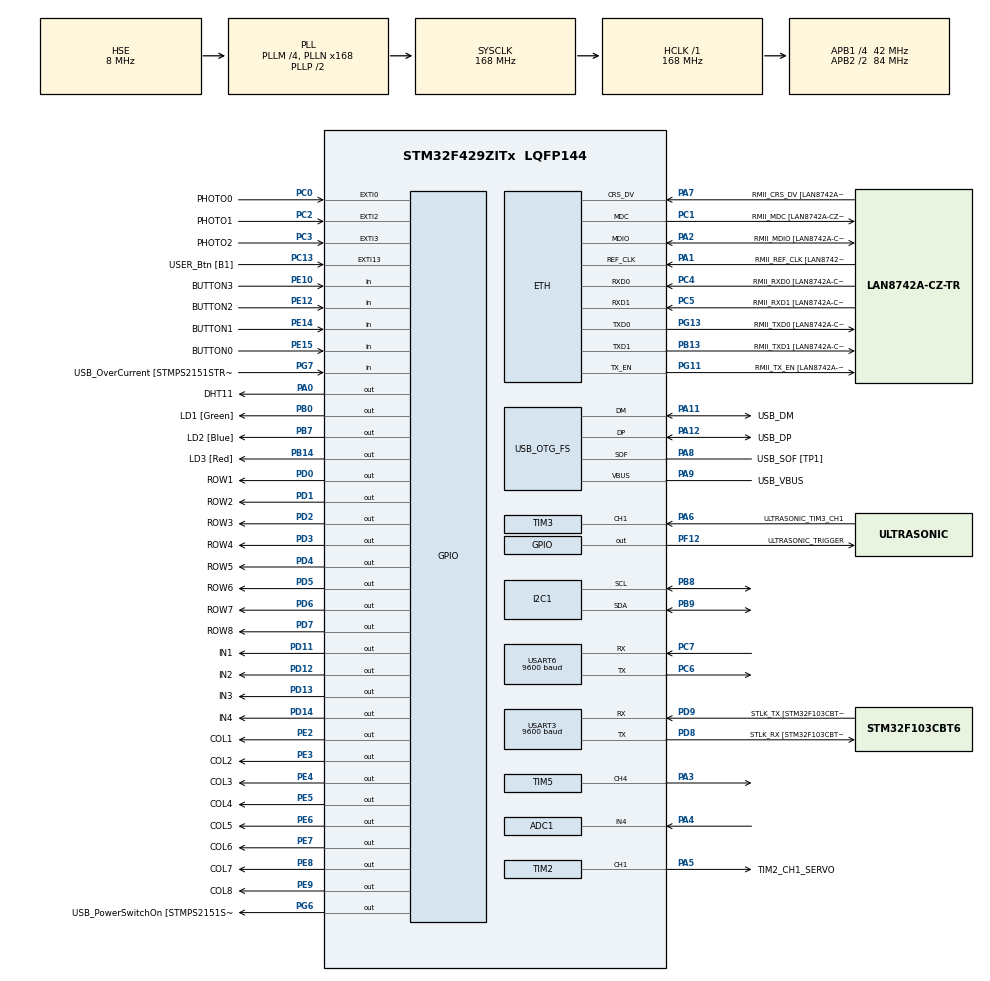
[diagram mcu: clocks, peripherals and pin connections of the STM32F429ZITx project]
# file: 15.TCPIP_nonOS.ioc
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ADC1.Channel-2\#ChannelRegularConversion=ADC_CHANNEL_4
ADC1.ContinuousConvMode=ENABLE
ADC1.NbrOfConversionFlag=1
ADC1.Rank-2\#ChannelRegularConversion=1
ADC1.SamplingTime-2\#ChannelRegularConversion=ADC_SAMPLETIME_480CYCLES
ADC1.master=1
ETH.MACAddr=00\:80\:E1\:00\:00\:75
ETH.MediaInterface=HAL_ETH_RMII_MODE
LWIP.BSP.number=1
LWIP.GATEWAY_ADDRESS=010.010.015.254
LWIP.IP_ADDRESS=010.010.015.075
LWIP.LWIP_DHCP=0
LWIP.NETMASK_ADDRESS=255.255.255.000
LWIP.Version=v2.1.2_Cube
LWIP0.BSP.STBoard=false
LWIP0.BSP.api=BSP_COMPONENT_DRIVER
LWIP0.BSP.component=LAN8742
LWIP0.BSP.instance=LAN8742
LWIP0.BSP.name=Driver_PHY
LWIP0.BSP.semaphore=S_LAN8742
LWIP0.BSP.solution=LAN8742
Mcu.Family=STM32F4
Mcu.Name=STM32F429ZITx
Mcu.Package=LQFP144
NVIC.ADC_IRQn=true\:0\:0\:false\:false\:true\:true\:true\:true
NVIC.ETH_IRQn=true\:0\:0\:false\:false\:true\:true\:true\:true
NVIC.ETH_WKUP_IRQn=true\:0\:0\:false\:false\:true\:true\:true\:true
NVIC.EXTI0_IRQn=true\:0\:0\:false\:false\:true\:true\:true\:true
NVIC.EXTI2_IRQn=true\:0\:0\:false\:false\:true\:true\:true\:true
NVIC.EXTI3_IRQn=true\:0\:0\:false\:false\:true\:true\:true\:true
NVIC.PriorityGroup=NVIC_PRIORITYGROUP_4
NVIC.TIM1_TRG_COM_TIM11_IRQn=true\:0\:0\:false\:false\:true\:true\:true\:true
NVIC.TIM1_UP_TIM10_IRQn=true\:0\:0\:false\:false\:true\:true\:true\:true
NVIC.TIM2_IRQn=true\:0\:0\:false\:false\:true\:true\:true\:true
NVIC.TIM3_IRQn=true\:0\:0\:false\:false\:true\:true\:true\:true
NVIC.TIM4_IRQn=true\:0\:0\:false\:false\:true\:true\:true\:true
NVIC.TIM5_IRQn=true\:0\:0\:false\:false\:true\:true\:true\:true
NVIC.USART3_IRQn=true\:0\:0\:false\:false\:true\:true\:true\:true
NVIC.USART6_IRQn=true\:0\:0\:false\:false\:true\:true\:true\:true
PA0/WKUP.GPIO_Label=DHT11
PA0/WKUP.Signal=GPIO_Output
PA1.GPIO_Label=RMII_REF_CLK [LAN8742A-CZ-TR_REFCLK0]
PA1.Mode=RMII
PA1.Signal=ETH_REF_CLK
PA10.GPIO_Label=USB_ID
PA10.Signal=USB_OTG_FS_ID
PA11.GPIO_Label=USB_DM
PA11.Mode=Device_Only
PA11.Signal=USB_OTG_FS_DM
PA12.GPIO_Label=USB_DP
PA12.Mode=Device_Only
PA12.Signal=USB_OTG_FS_DP
PA13.GPIO_Label=TMS
PA13.Mode=Serial_Wire
PA13.Signal=SYS_JTMS-SWDIO
PA14.GPIO_Label=TCK
PA14.Mode=Serial_Wire
PA14.Signal=SYS_JTCK-SWCLK
PA2.GPIO_Label=RMII_MDIO [LAN8742A-CZ-TR_MDIO]
PA2.Mode=RMII
PA2.Signal=ETH_MDIO
PA3.Signal=S_TIM5_CH4
PA4.Signal=ADCx_IN4
PA5.GPIO_Label=TIM2_CH1_SERVO
PA5.Signal=S_TIM2_CH1_ETR
PA6.GPIO_Label=ULTRASONIC_TIM3_CH1
PA6.Signal=S_TIM3_CH1
PA7.GPIO_Label=RMII_CRS_DV [LAN8742A-CZ-TR_CRS_DV]
PA7.Mode=RMII
PA7.Signal=ETH_CRS_DV
PA8.GPIO_Label=USB_SOF [TP1]
PA8.Mode=Activate_SOF_FS
PA8.Signal=USB_OTG_FS_SOF
PA9.GPIO_Label=USB_VBUS
PA9.Mode=Activate_VBUS
PA9.Signal=USB_OTG_FS_VBUS
PB0.GPIO_Label=LD1 [Green]
PB0.Signal=GPIO_Output
PB13.GPIO_Label=RMII_TXD1 [LAN8742A-CZ-TR_TXD1]
PB13.Mode=RMII
PB13.Signal=ETH_TXD1
PB14.GPIO_Label=LD3 [Red]
PB14.Signal=GPIO_Output
PB7.GPIO_Label=LD2 [Blue]
PB7.Signal=GPIO_Output
PB8.Mode=I2C
PB8.Signal=I2C1_SCL
PB9.Mode=I2C
PB9.Signal=I2C1_SDA
PC0.GPIO_Label=PHOTO0
PC0.Signal=GPXTI0
PC1.GPIO_Label=RMII_MDC [LAN8742A-CZ-TR_MDC]
PC1.Mode=RMII
PC1.Signal=ETH_MDC
PC13.GPIO_Label=USER_Btn [B1]
PC13.Signal=GPXTI13
PC14/OSC32_IN.Mode=LSE-External-Oscillator
PC14/OSC32_IN.Signal=RCC_OSC32_IN
PC15/OSC32_OUT.Mode=LSE-External-Oscillator
PC15/OSC32_OUT.Signal=RCC_OSC32_OUT
PC2.GPIO_Label=PHOTO1
PC2.Signal=GPXTI2
PC3.GPIO_Label=PHOTO2
PC3.Signal=GPXTI3
PC4.GPIO_Label=RMII_RXD0 [LAN8742A-CZ-TR_RXD0]
PC4.Mode=RMII
PC4.Signal=ETH_RXD0
PC5.GPIO_Label=RMII_RXD1 [LAN8742A-CZ-TR_RXD1]
PC5.Mode=RMII
PC5.Signal=ETH_RXD1
PC6.Mode=Asynchronous
PC6.Signal=USART6_TX
PC7.Mode=Asynchronous
PC7.Signal=USART6_RX
PD0.GPIO_Label=ROW1
PD0.Signal=GPIO_Output
PD1.GPIO_Label=ROW2
PD1.Signal=GPIO_Output
PD11.GPIO_Label=IN1
PD11.Signal=GPIO_Output
PD12.GPIO_Label=IN2
PD12.Signal=GPIO_Output
PD13.GPIO_Label=IN3
PD13.Signal=GPIO_Output
PD14.GPIO_Label=IN4
PD14.Signal=GPIO_Output
PD2.GPIO_Label=ROW3
PD2.Signal=GPIO_Output
PD3.GPIO_Label=ROW4
PD3.Signal=GPIO_Output
PD4.GPIO_Label=ROW5
PD4.Signal=GPIO_Output
PD5.GPIO_Label=ROW6
PD5.Signal=GPIO_Output
PD6.GPIO_Label=ROW7
PD6.Signal=GPIO_Output
PD7.GPIO_Label=ROW8
PD7.Signal=GPIO_Output
PD8.GPIO_Label=STLK_RX [STM32F103CBT6_PA3]
PD8.Mode=Asynchronous
PD8.Signal=USART3_TX
PD9.GPIO_Label=STLK_TX [STM32F103CBT6_PA2]
PD9.Mode=Asynchronous
PD9.Signal=USART3_RX
PE10.GPIO_Label=BUTTON3
PE10.Signal=GPIO_Input
PE12.GPIO_Label=BUTTON2
PE12.Signal=GPIO_Input
PE14.GPIO_Label=BUTTON1
PE14.Signal=GPIO_Input
PE15.GPIO_Label=BUTTON0
PE15.Signal=GPIO_Input
PE2.GPIO_Label=COL1
PE2.Signal=GPIO_Output
PE3.GPIO_Label=COL2
PE3.Signal=GPIO_Output
PE4.GPIO_Label=COL3
PE4.Signal=GPIO_Output
PE5.GPIO_Label=COL4
PE5.Signal=GPIO_Output
PE6.GPIO_Label=COL5
PE6.Signal=GPIO_Output
PE7.GPIO_Label=COL6
PE7.Signal=GPIO_Output
PE8.GPIO_Label=COL7
PE8.Signal=GPIO_Output
PE9.GPIO_Label=COL8
PE9.Signal=GPIO_Output
PF12.GPIO_Label=ULTRASONIC_TRIGGER
PF12.Signal=GPIO_Output
PG11.GPIO_Label=RMII_TX_EN [LAN8742A-CZ-TR_TXEN]
PG11.Mode=RMII
PG11.Signal=ETH_TX_EN
PG13.GPIO_Label=RMII_TXD0 [LAN8742A-CZ-TR_TXD0]
PG13.Mode=RMII
PG13.Signal=ETH_TXD0
PG6.GPIO_Label=USB_PowerSwitchOn [STMPS2151STR_EN]
PG6.Signal=GPIO_Output
PG7.GPIO_Label=USB_OverCurrent [STMPS2151STR_FAULT]
PG7.Signal=GPIO_Input
PH0/OSC_IN.GPIO_Label=MCO [STM32F103CBT6_PA8]
PH0/OSC_IN.Mode=HSE-External-Clock-Source
PH0/OSC_IN.Signal=RCC_OSC_IN
PH1/OSC_OUT.Mode=HSE-External-Clock-Source
PH1/OSC_OUT.Signal=RCC_OSC_OUT
ProjectManager.HeapSize=0x200
ProjectManager.StackSize=0x400
ProjectManager.TargetToolchain=STM32CubeIDE
RCC.48MHZClocksFreq_Value=48000000
RCC.AHBFreq_Value=168000000
RCC.APB1CLKDivider=RCC_HCLK_DIV4
RCC.APB1Freq_Value=42000000
RCC.APB1TimFreq_Value=84000000
RCC.APB2CLKDivider=RCC_HCLK_DIV2
RCC.APB2Freq_Value=84000000
RCC.APB2TimCLKDivider=2
RCC.APB2TimFreq_Value=168000000
RCC.CortexFreq_Value=168000000
RCC.HCLKFreq_Value=168000000
RCC.HSE_VALUE=8000000
RCC.HSI_VALUE=16000000
RCC.PLLM=4
RCC.PLLMUL=RCC_PLL_MUL9
RCC.PLLN=168
RCC.PLLQ=7
RCC.PRESCALERUSB=RCC_USBCLKSOURCE_PLL_DIV1_5
RCC.SYSCLKFreq_VALUE=168000000
RCC.SYSCLKSource=RCC_SYSCLKSOURCE_PLLCLK
RCC.SYSCLKSourceVirtual=RCC_SYSCLKSOURCE_PLLCLK
RCC.USBFreq_Value=48000000
RCC.VCOOutputFreq_Value=336000000
RTC.Date=16
RTC.Hours=9
RTC.Minutes=38
RTC.Month=RTC_MONTH_OCTOBER
RTC.Year=23
SH.ADCx_IN4.0=ADC1_IN4,IN4
SH.S_TIM2_CH1_ETR.0=TIM2_CH1,PWM Generation1 CH1
SH.S_TIM3_CH1.0=TIM3_CH1,Input_Capture1_from_TI1
SH.S_TIM5_CH4.0=TIM5_CH4,PWM Generation4 CH4
TIM10.Period=10000-1
TIM10.Prescaler=168-1
TIM11.Prescaler=168-1
TIM2.Channel-PWM\ Generation1\ CH1=TIM_CHANNEL_1
TIM2.Period=1000-1
TIM2.Prescaler=1680-1
TIM2.Pulse-PWM\ Generation1\ CH1=500-1
TIM3.Channel-Input_Capture1_from_TI1=TIM_CHANNEL_1
TIM3.ICPolarity_CH1=TIM_INPUTCHANNELPOLARITY_BOTHEDGE
TIM3.Prescaler=84-1
TIM4.Period=100-1
TIM4.Prescaler=840-1
TIM5.Channel-PWM\ Generation4\ CH4=TIM_CHANNEL_4
TIM5.Period=400-1
TIM5.Prescaler=52.5-1
TIM5.Pulse-PWM\ Generation4\ CH4=200-1
USART3.BaudRate=9600
USART3.VirtualMode=VM_ASYNC
USART6.BaudRate=9600
USART6.VirtualMode=VM_ASYNC
USB_OTG_FS.VirtualMode=Device_Only
VP_LWIP_VS_Enabled.Mode=Enabled
VP_RTC_VS_RTC_Activate.Mode=RTC_Enabled
VP_RTC_VS_RTC_Calendar.Mode=RTC_Calendar
VP_TIM10_VS_ClockSourceINT.Mode=Enable_Timer
VP_TIM11_VS_ClockSourceINT.Mode=Enable_Timer
VP_TIM4_VS_ClockSourceINT.Mode=Internal
VP_TIM5_VS_ClockSourceINT.Mode=Internal
board=NUCLEO-F429ZI

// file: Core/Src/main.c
/* USER CODE BEGIN Header */
/**
  ******************************************************************************
  * @file           : main.c
  * @brief          : Main program body
  ******************************************************************************
  * @attention
  *
  * Copyright (c) 2023 STMicroelectronics.
  * All rights reserved.
  *
  * This software is licensed under terms that can be found in the LICENSE file
  * in the root directory of this software component.
  * If no LICENSE file comes with this software, it is provided AS-IS.
  *
  ******************************************************************************
  */
/* USER CODE END Header */
#include "main.h"
#include "lwip.h"

/* USER CODE BEGIN Includes */
#include "lwip/udp.h"  // Add TCP
#include "udp_echoserver.h"  // Add TCP

/* USER CODE END Includes */

ADC_HandleTypeDef hadc1;

I2C_HandleTypeDef hi2c1;

RTC_HandleTypeDef hrtc;

TIM_HandleTypeDef htim2;
TIM_HandleTypeDef htim3;
TIM_HandleTypeDef htim4;
TIM_HandleTypeDef htim5;
TIM_HandleTypeDef htim10;
TIM_HandleTypeDef htim11;

UART_HandleTypeDef huart3;
UART_HandleTypeDef huart6;

PCD_HandleTypeDef hpcd_USB_OTG_FS;

/* USER CODE BEGIN PV */
uint8_t rx_data;   // uart3 rx data
uint8_t bt_rx_data;   // uart6 bt rx data
volatile int TIM10_10ms_counter=0;
volatile int TIM10_10ms_ultrasonic=0;
/* USER CODE END PV */

void SystemClock_Config(void);
static void MX_GPIO_Init(void);
static void MX_USART3_UART_Init(void);
static void MX_USB_OTG_FS_PCD_Init(void);
static void MX_USART6_UART_Init(void);
static void MX_TIM10_Init(void);
static void MX_TIM11_Init(void);
static void MX_TIM3_Init(void);
static void MX_TIM4_Init(void);
static void MX_TIM2_Init(void);
static void MX_RTC_Init(void);
static void MX_TIM5_Init(void);
static void MX_I2C1_Init(void);
static void MX_ADC1_Init(void);
/* USER CODE BEGIN PFP */
extern void led_main(void);
extern void pc_command_processing(void);
extern void bt_command_processing(void);
extern void DHT11_main(void);
extern void DHT11_Init(void);
extern void DHT11_processing(void);
extern void get_DHT11(char *tmp);	//
extern void get_DHT11_tmp(char *tmp);	//
extern void get_DHT11_rh(char *tmp);	//
extern void ultrasonic_processing(void);
extern void i2c_lcd_main(void);
extern void i2c_lcd_init(void);
extern void lcd_string(uint8_t *str);
extern void move_cursor(uint8_t row, uint8_t column);
extern void dcmotor_pwm_control(void);
extern void servo_motor_test_main(void);
extern void get_rtc(void);
extern void lcd_display_mode_select(void);
extern void set_time_button_ui(void);
extern void buzzer_main();
extern int dotmatrix_main_test(void);
extern int dotmatrix_main(void);
extern void stepmotor_main_test(void);

void delay_us(unsigned long us);
/* USER CODE END PFP */

/* USER CODE BEGIN 0 */
//---------------
// call by SysTick_Handler of stm32f4xx_it.c
// ARM default timer
// enter here every 1ms
volatile int t1ms_counter=0;  // volatile : for disable optimize
void HAL_SYSTICK_Handler(void)
{
	t1ms_counter++;   // 1ms timer
}
//----------  printf start ----------
#ifdef __GNUC__
/* With GCC, small printf (option LD Linker->Libraries->Small printf
   set to 'Yes') calls __io_putchar() */
#define PUTCHAR_PROTOTYPE int __io_putchar(int ch)
#else
#define PUTCHAR_PROTOTYPE int fputc(int ch, FILE *f)
#endif /* __GNUC_ */
/**
  * @brief  Retargets the C library printf function to the USART.
  * @param  None
  * @retval None
  */
PUTCHAR_PROTOTYPE   // Add for printf
{
  /* Place your implementation of fputc here */
  /* e.g. write a character to the USART3 and Loop until the end of transmission */
  HAL_UART_Transmit(&huart3, (uint8_t *)&ch, 1, 0xFFFF);

  return ch;
}
//----------  printf end ----------

// move from Driver/STM32F4xx_HAL_Driver/stm32f4xx_hal_tim.c to here
// enter here when every timer INT occurs

void HAL_TIM_PeriodElapsedCallback(TIM_HandleTypeDef *htim)
{
	if (htim->Instance == TIM10)
	{
		TIM10_10ms_counter++;  // 10ms timer counter
		TIM10_10ms_ultrasonic++;  // ultrasonic trigger timer
	}
}

void delay_us(unsigned long us)
{
	__HAL_TIM_SET_COUNTER(&htim11,0);   // tim11 clear
	while(__HAL_TIM_GET_COUNTER(&htim11) < us)
		;
}
// 1. move from Driver/STM32F4xx_HAL_Driver/Src/stm32f4xx_hal_gpio.c to here
// 2. enter here every external interrupt
volatile int ext_int_no = -1;  // GPIO_Pin?�� 0번도 존재?��?���???? 구분?���???? ?��?��?��
void HAL_GPIO_EXTI_Callback(uint16_t GPIO_Pin)
{
printf("EXT INT\0");
	switch(GPIO_Pin)
	{
	case PHOTO0_Pin:
		ext_int_no=GPIO_Pin;
		nucleo_stm32f429zi_led_off();
		HAL_GPIO_WritePin(GPIOB, GPIO_PIN_0, 1); // LED1
		break;
	case PHOTO1_Pin:
		ext_int_no=GPIO_Pin;
		nucleo_stm32f429zi_led_off();
		HAL_GPIO_WritePin(GPIOB, GPIO_PIN_7, 1);   // LED2
		break;
	case PHOTO2_Pin:
		ext_int_no=GPIO_Pin;
		nucleo_stm32f429zi_led_off();
		HAL_GPIO_WritePin(GPIOB, GPIO_PIN_14, 1);  // LED3
		break;
	}
}
uint16_t adcValue[4];
void HAL_ADC_ConvCpltCallback(ADC_HandleTypeDef* hadc)
{
	if (hadc->Instance == ADC1)
	{
		adcValue[0] = HAL_ADC_GetValue(&hadc1);
		HAL_ADC_Start_IT(&hadc1);
	}
}
// led off on STM32F429ZI
void nucleo_stm32f429zi_led_off()
{
	HAL_GPIO_WritePin(GPIOB, GPIO_PIN_0, 0);
	HAL_GPIO_WritePin(GPIOB, GPIO_PIN_7, 0);
	HAL_GPIO_WritePin(GPIOB, GPIO_PIN_14, 0);
}
void nucleo_stm32f429zi_led_on()
{
	HAL_GPIO_WritePin(GPIOB, GPIO_PIN_0, 1);
	HAL_GPIO_WritePin(GPIOB, GPIO_PIN_7, 1);
	HAL_GPIO_WritePin(GPIOB, GPIO_PIN_14, 1);
}
//-------- UDP start ------------
extern struct udp_pcb *upcb1;    // Add	UDP Control Block
extern ip_addr_t addr1;          // Add
extern uint8_t udp_data[100];    // Add
extern uint8_t udp_flag;         // Add
extern uint8_t led_flag[4];		 // Add

struct pbuf *p1;    // Add  Send buffer
char temp_str[40] = "";
uint8_t servo[6];
uint8_t led[4];

//--------- UDP end ------------
/* USER CODE END 0 */

int main(void)
{

  /* MCU Configuration--------------------------------------------------------*/

  /* Reset of all peripherals, Initializes the Flash interface and the Systick. */
  HAL_Init();

  /* Configure the system clock */
  SystemClock_Config();

  /* Initialize all configured peripherals */
  MX_GPIO_Init();
  MX_USART3_UART_Init();
  MX_USB_OTG_FS_PCD_Init();
  MX_USART6_UART_Init();
  MX_TIM10_Init();
  MX_TIM11_Init();
  MX_TIM3_Init();
  MX_TIM4_Init();
  MX_TIM2_Init();
  MX_RTC_Init();
  MX_TIM5_Init();
  MX_I2C1_Init();
  MX_ADC1_Init();
  MX_LWIP_Init();
  /* USER CODE BEGIN 2 */
  HAL_UART_Receive_IT(&huart3, &rx_data, 1);   // assing to RX INT
  HAL_UART_Receive_IT(&huart6, &bt_rx_data, 1);   // for BT assing to RX INT
  HAL_TIM_Base_Start_IT(&htim10);   // ADD_SIKWON_1011
  HAL_TIM_Base_Start_IT(&htim11);   // ADD_SIKWON_1011
//  HAL_TIM_IC_Start_IT(&htim3, TIM_CHANNEL_1);   // for count pulse(rising edge & falling edge)
//  HAL_TIM_PWM_Start_IT(&htim4, TIM_CHANNEL_1);  // for DC motor PWM control
//  HAL_TIM_PWM_Start(&htim2, TIM_CHANNEL_1);   // for SERVO motor PWM control
//  HAL_TIM_PWM_Start(&htim5, TIM_CHANNEL_4);   // PIEZO Buzzer
  HAL_ADC_Start_IT(&hadc1);

   DHT11_Init();
//  i2c_lcd_init();

  TIM10_10ms_counter=0;
// DHT11_main();
// stepmotor_main_test();

//  dotmatrix_main();

//  dotmatrix_main_test();
//  led_main();
//  DHT11_main();
//  i2c_lcd_main();
//  servo_motor_test_main();
//  buzzer_main();
//------ TCP/IP start -------------
    udp_echoserver_init(); // Add TCP
	upcb1 = udp_new();                //Add
	IP4_ADDR(&addr1,10,10,15,57);     //Add My PC IP
	udp_bind(upcb1,IP_ADDR_ANY,9999); //Add
//------- TCP/IP end -----------------
  /* USER CODE END 2 */

  /* Infinite loop */
  /* USER CODE BEGIN WHILE */
  while (1)
  {
	ethernetif_input(&gnetif);
	sys_check_timeouts();

	if (udp_flag == 1)      // Add
	{
		udp_flag = 0;
		strncpy(servo, udp_data + 6, 4);
		HAL_UART_Transmit(&huart3, servo, strlen(servo), 1000);
		//__HAL_TIM_SET_COMPARE(&htim1, TIM_CHANNEL_4, atoi(servo));
	}
	if(led_flag[1] == 1){
		led_flag[1] = 0;
		HAL_GPIO_TogglePin(GPIOB, GPIO_PIN_0);   // LED1
		HAL_UART_Transmit(&huart3, led, strlen(led), 1000);

		get_DHT11_tmp(temp_str);
		udp_connect(upcb1, &addr1, 9999);  // Add
		p1 = pbuf_alloc(PBUF_TRANSPORT, strlen((char *) temp_str), PBUF_POOL);
		if (p1 != NULL)
		{
			// copy data to pbuf
			pbuf_take(p1, (char *)temp_str, strlen((char *)temp_str));
			// send udp data
			udp_send(upcb1, p1);
			/* free the UDP connection, so we can accept new clients */
			udp_disconnect(upcb1);

			// free pbuf
			pbuf_free(p1);
		}
		else
		{
			HAL_UART_Transmit(&huart3,  "pbuf not allocated\n", strlen("pbuf not allocated\n"), 10);
		}

		continue;
	}
	if(led_flag[2] == 1){
		led_flag[2] = 0;
		HAL_GPIO_TogglePin(GPIOB, GPIO_PIN_7);   // LED2
		HAL_UART_Transmit(&huart3, led, strlen(led), 1000);

		get_DHT11_rh(temp_str);
		udp_connect(upcb1, &addr1, 9999);  // Add
		p1 = pbuf_alloc(PBUF_TRANSPORT, strlen((char *) temp_str), PBUF_POOL);
		if (p1 != NULL)
		{
			// copy data to pbuf
			pbuf_take(p1, (char *)temp_str, strlen((char *)temp_str));
			// send udp data
			udp_send(upcb1, p1);
			/* free the UDP connection, so we can accept new clients */
			udp_disconnect(upcb1);

			// free pbuf
			pbuf_free(p1);
		}
		else
		{
			HAL_UART_Transmit(&huart3,  "pbuf not allocated\n", strlen("pbuf not allocated\n"), 10);
		}

		continue;
	}
	if(led_flag[3] == 1){
		led_flag[3] = 0;
		HAL_GPIO_TogglePin(GPIOB, GPIO_PIN_14);   // LED3
		HAL_UART_Transmit(&huart3, led, strlen(led), 1000);
		continue;
	}

#if 1
	if (TIM10_10ms_counter >= 150)  //1500ms
	{
		TIM10_10ms_counter=0;

		get_DHT11(temp_str);
		udp_connect(upcb1, &addr1, 9999);  // Add
		p1 = pbuf_alloc(PBUF_TRANSPORT, strlen((char *) temp_str), PBUF_POOL);
		if (p1 != NULL)
		{
			// copy data to pbuf
			pbuf_take(p1, (char *)temp_str, strlen((char *)temp_str));
			// send udp data
			udp_send(upcb1, p1);
			/* free the UDP connection, so we can accept new clients */
			udp_disconnect(upcb1);

			// free pbuf
			pbuf_free(p1);
		}
		else
		{
			HAL_UART_Transmit(&huart3,  "pbuf not allocated\n", strlen("pbuf not allocated\n"), 10);
		}

	}
#endif
//	DHT11_processing();
// 	pc_command_processing();
// 	bt_command_processing();
// 	ultrasonic_processing();
// 	dcmotor_pwm_control();
// 	get_rtc();
// 	lcd_display_mode_select();
// 	set_time_button_ui();
    /* USER CODE END WHILE */

  }
}

void SystemClock_Config(void)
{
  RCC_OscInitTypeDef RCC_OscInitStruct = {0};
  RCC_ClkInitTypeDef RCC_ClkInitStruct = {0};

  /** Configure the main internal regulator output voltage
  */
  __HAL_RCC_PWR_CLK_ENABLE();
  __HAL_PWR_VOLTAGESCALING_CONFIG(PWR_REGULATOR_VOLTAGE_SCALE1);

  /** Initializes the RCC Oscillators according to the specified parameters
  * in the RCC_OscInitTypeDef structure.
  */
  RCC_OscInitStruct.OscillatorType = RCC_OSCILLATORTYPE_LSI|RCC_OSCILLATORTYPE_HSE;
  RCC_OscInitStruct.HSEState = RCC_HSE_BYPASS;
  RCC_OscInitStruct.LSIState = RCC_LSI_ON;
  RCC_OscInitStruct.PLL.PLLState = RCC_PLL_ON;
  RCC_OscInitStruct.PLL.PLLSource = RCC_PLLSOURCE_HSE;
  RCC_OscInitStruct.PLL.PLLM = 4;
  RCC_OscInitStruct.PLL.PLLN = 168;
  RCC_OscInitStruct.PLL.PLLP = RCC_PLLP_DIV2;
  RCC_OscInitStruct.PLL.PLLQ = 7;
  if (HAL_RCC_OscConfig(&RCC_OscInitStruct) != HAL_OK)
  {
    Error_Handler();
  }

  /** Initializes the CPU, AHB and APB buses clocks
  */
  RCC_ClkInitStruct.ClockType = RCC_CLOCKTYPE_HCLK|RCC_CLOCKTYPE_SYSCLK
                              |RCC_CLOCKTYPE_PCLK1|RCC_CLOCKTYPE_PCLK2;
  RCC_ClkInitStruct.SYSCLKSource = RCC_SYSCLKSOURCE_PLLCLK;
  RCC_ClkInitStruct.AHBCLKDivider = RCC_SYSCLK_DIV1;
  RCC_ClkInitStruct.APB1CLKDivider = RCC_HCLK_DIV4;
  RCC_ClkInitStruct.APB2CLKDivider = RCC_HCLK_DIV2;

  if (HAL_RCC_ClockConfig(&RCC_ClkInitStruct, FLASH_LATENCY_5) != HAL_OK)
  {
    Error_Handler();
  }
}

static void MX_ADC1_Init(void)
{

  ADC_ChannelConfTypeDef sConfig = {0};

  /** Configure the global features of the ADC (Clock, Resolution, Data Alignment and number of conversion)
  */
  hadc1.Instance = ADC1;
  hadc1.Init.ClockPrescaler = ADC_CLOCK_SYNC_PCLK_DIV4;
  hadc1.Init.Resolution = ADC_RESOLUTION_12B;
  hadc1.Init.ScanConvMode = DISABLE;
  hadc1.Init.ContinuousConvMode = ENABLE;
  hadc1.Init.DiscontinuousConvMode = DISABLE;
  hadc1.Init.ExternalTrigConvEdge = ADC_EXTERNALTRIGCONVEDGE_NONE;
  hadc1.Init.ExternalTrigConv = ADC_SOFTWARE_START;
  hadc1.Init.DataAlign = ADC_DATAALIGN_RIGHT;
  hadc1.Init.NbrOfConversion = 1;
  hadc1.Init.DMAContinuousRequests = DISABLE;
  hadc1.Init.EOCSelection = ADC_EOC_SINGLE_CONV;
  if (HAL_ADC_Init(&hadc1) != HAL_OK)
  {
    Error_Handler();
  }

  /** Configure for the selected ADC regular channel its corresponding rank in the sequencer and its sample time.
  */
  sConfig.Channel = ADC_CHANNEL_4;
  sConfig.Rank = 1;
  sConfig.SamplingTime = ADC_SAMPLETIME_480CYCLES;
  if (HAL_ADC_ConfigChannel(&hadc1, &sConfig) != HAL_OK)
  {
    Error_Handler();
  }

}

static void MX_I2C1_Init(void)
{

  hi2c1.Instance = I2C1;
  hi2c1.Init.ClockSpeed = 100000;
  hi2c1.Init.DutyCycle = I2C_DUTYCYCLE_2;
  hi2c1.Init.OwnAddress1 = 0;
  hi2c1.Init.AddressingMode = I2C_ADDRESSINGMODE_7BIT;
  hi2c1.Init.DualAddressMode = I2C_DUALADDRESS_DISABLE;
  hi2c1.Init.OwnAddress2 = 0;
  hi2c1.Init.GeneralCallMode = I2C_GENERALCALL_DISABLE;
  hi2c1.Init.NoStretchMode = I2C_NOSTRETCH_DISABLE;
  if (HAL_I2C_Init(&hi2c1) != HAL_OK)
  {
    Error_Handler();
  }

  /** Configure Analogue filter
  */
  if (HAL_I2CEx_ConfigAnalogFilter(&hi2c1, I2C_ANALOGFILTER_ENABLE) != HAL_OK)
  {
    Error_Handler();
  }

  /** Configure Digital filter
  */
  if (HAL_I2CEx_ConfigDigitalFilter(&hi2c1, 0) != HAL_OK)
  {
    Error_Handler();
  }

}

static void MX_RTC_Init(void)
{

  RTC_TimeTypeDef sTime = {0};
  RTC_DateTypeDef sDate = {0};

  /** Initialize RTC Only
  */
  hrtc.Instance = RTC;
  hrtc.Init.HourFormat = RTC_HOURFORMAT_24;
  hrtc.Init.AsynchPrediv = 127;
  hrtc.Init.SynchPrediv = 255;
  hrtc.Init.OutPut = RTC_OUTPUT_DISABLE;
  hrtc.Init.OutPutPolarity = RTC_OUTPUT_POLARITY_HIGH;
  hrtc.Init.OutPutType = RTC_OUTPUT_TYPE_OPENDRAIN;
  if (HAL_RTC_Init(&hrtc) != HAL_OK)
  {
    Error_Handler();
  }

  /** Initialize RTC and set the Time and Date
  */
  sTime.Hours = 0x9;
  sTime.Minutes = 0x38;
  sTime.Seconds = 0x0;
  sTime.DayLightSaving = RTC_DAYLIGHTSAVING_NONE;
  sTime.StoreOperation = RTC_STOREOPERATION_RESET;
  if (HAL_RTC_SetTime(&hrtc, &sTime, RTC_FORMAT_BCD) != HAL_OK)
  {
    Error_Handler();
  }
  sDate.WeekDay = RTC_WEEKDAY_MONDAY;
  sDate.Month = RTC_MONTH_OCTOBER;
  sDate.Date = 0x16;
  sDate.Year = 0x23;

  if (HAL_RTC_SetDate(&hrtc, &sDate, RTC_FORMAT_BCD) != HAL_OK)
  {
    Error_Handler();
  }

}

static void MX_TIM2_Init(void)
{

  TIM_MasterConfigTypeDef sMasterConfig = {0};
  TIM_OC_InitTypeDef sConfigOC = {0};

  htim2.Instance = TIM2;
  htim2.Init.Prescaler = 1680-1;
  htim2.Init.CounterMode = TIM_COUNTERMODE_UP;
  htim2.Init.Period = 1000-1;
  htim2.Init.ClockDivision = TIM_CLOCKDIVISION_DIV1;
  htim2.Init.AutoReloadPreload = TIM_AUTORELOAD_PRELOAD_DISABLE;
  if (HAL_TIM_PWM_Init(&htim2) != HAL_OK)
  {
    Error_Handler();
  }
  sMasterConfig.MasterOutputTrigger = TIM_TRGO_RESET;
  sMasterConfig.MasterSlaveMode = TIM_MASTERSLAVEMODE_DISABLE;
  if (HAL_TIMEx_MasterConfigSynchronization(&htim2, &sMasterConfig) != HAL_OK)
  {
    Error_Handler();
  }
  sConfigOC.OCMode = TIM_OCMODE_PWM1;
  sConfigOC.Pulse = 500-1;
  sConfigOC.OCPolarity = TIM_OCPOLARITY_HIGH;
  sConfigOC.OCFastMode = TIM_OCFAST_DISABLE;
  if (HAL_TIM_PWM_ConfigChannel(&htim2, &sConfigOC, TIM_CHANNEL_1) != HAL_OK)
  {
    Error_Handler();
  }
  HAL_TIM_MspPostInit(&htim2);

}

static void MX_TIM3_Init(void)
{

  TIM_MasterConfigTypeDef sMasterConfig = {0};
  TIM_IC_InitTypeDef sConfigIC = {0};

  htim3.Instance = TIM3;
  htim3.Init.Prescaler = 84-1;
  htim3.Init.CounterMode = TIM_COUNTERMODE_UP;
  htim3.Init.Period = 65535;
  htim3.Init.ClockDivision = TIM_CLOCKDIVISION_DIV1;
  htim3.Init.AutoReloadPreload = TIM_AUTORELOAD_PRELOAD_DISABLE;
  if (HAL_TIM_IC_Init(&htim3) != HAL_OK)
  {
    Error_Handler();
  }
  sMasterConfig.MasterOutputTrigger = TIM_TRGO_RESET;
  sMasterConfig.MasterSlaveMode = TIM_MASTERSLAVEMODE_DISABLE;
  if (HAL_TIMEx_MasterConfigSynchronization(&htim3, &sMasterConfig) != HAL_OK)
  {
    Error_Handler();
  }
  sConfigIC.ICPolarity = TIM_INPUTCHANNELPOLARITY_BOTHEDGE;
  sConfigIC.ICSelection = TIM_ICSELECTION_DIRECTTI;
  sConfigIC.ICPrescaler = TIM_ICPSC_DIV1;
  sConfigIC.ICFilter = 0;
  if (HAL_TIM_IC_ConfigChannel(&htim3, &sConfigIC, TIM_CHANNEL_1) != HAL_OK)
  {
    Error_Handler();
  }

}

static void MX_TIM4_Init(void)
{

  TIM_ClockConfigTypeDef sClockSourceConfig = {0};
  TIM_MasterConfigTypeDef sMasterConfig = {0};

  htim4.Instance = TIM4;
  htim4.Init.Prescaler = 840-1;
  htim4.Init.CounterMode = TIM_COUNTERMODE_UP;
  htim4.Init.Period = 100-1;
  htim4.Init.ClockDivision = TIM_CLOCKDIVISION_DIV1;
  htim4.Init.AutoReloadPreload = TIM_AUTORELOAD_PRELOAD_DISABLE;
  if (HAL_TIM_Base_Init(&htim4) != HAL_OK)
  {
    Error_Handler();
  }
  sClockSourceConfig.ClockSource = TIM_CLOCKSOURCE_INTERNAL;
  if (HAL_TIM_ConfigClockSource(&htim4, &sClockSourceConfig) != HAL_OK)
  {
    Error_Handler();
  }
  sMasterConfig.MasterOutputTrigger = TIM_TRGO_RESET;
  sMasterConfig.MasterSlaveMode = TIM_MASTERSLAVEMODE_DISABLE;
  if (HAL_TIMEx_MasterConfigSynchronization(&htim4, &sMasterConfig) != HAL_OK)
  {
    Error_Handler();
  }

}

static void MX_TIM5_Init(void)
{

  TIM_ClockConfigTypeDef sClockSourceConfig = {0};
  TIM_MasterConfigTypeDef sMasterConfig = {0};
  TIM_OC_InitTypeDef sConfigOC = {0};

  htim5.Instance = TIM5;
  htim5.Init.Prescaler = 52.5-1;
  htim5.Init.CounterMode = TIM_COUNTERMODE_UP;
  htim5.Init.Period = 400-1;
  htim5.Init.ClockDivision = TIM_CLOCKDIVISION_DIV1;
  htim5.Init.AutoReloadPreload = TIM_AUTORELOAD_PRELOAD_DISABLE;
  if (HAL_TIM_Base_Init(&htim5) != HAL_OK)
  {
    Error_Handler();
  }
  sClockSourceConfig.ClockSource = TIM_CLOCKSOURCE_INTERNAL;
  if (HAL_TIM_ConfigClockSource(&htim5, &sClockSourceConfig) != HAL_OK)
  {
    Error_Handler();
  }
  if (HAL_TIM_PWM_Init(&htim5) != HAL_OK)
  {
    Error_Handler();
  }
  sMasterConfig.MasterOutputTrigger = TIM_TRGO_RESET;
  sMasterConfig.MasterSlaveMode = TIM_MASTERSLAVEMODE_DISABLE;
  if (HAL_TIMEx_MasterConfigSynchronization(&htim5, &sMasterConfig) != HAL_OK)
  {
    Error_Handler();
  }
  sConfigOC.OCMode = TIM_OCMODE_PWM1;
  sConfigOC.Pulse = 200-1;
  sConfigOC.OCPolarity = TIM_OCPOLARITY_HIGH;
  sConfigOC.OCFastMode = TIM_OCFAST_DISABLE;
  if (HAL_TIM_PWM_ConfigChannel(&htim5, &sConfigOC, TIM_CHANNEL_4) != HAL_OK)
  {
    Error_Handler();
  }
  HAL_TIM_MspPostInit(&htim5);

}

static void MX_TIM10_Init(void)
{

  htim10.Instance = TIM10;
  htim10.Init.Prescaler = 168-1;
  htim10.Init.CounterMode = TIM_COUNTERMODE_UP;
  htim10.Init.Period = 10000-1;
  htim10.Init.ClockDivision = TIM_CLOCKDIVISION_DIV1;
  htim10.Init.AutoReloadPreload = TIM_AUTORELOAD_PRELOAD_DISABLE;
  if (HAL_TIM_Base_Init(&htim10) != HAL_OK)
  {
    Error_Handler();
  }

}

static void MX_TIM11_Init(void)
{

  htim11.Instance = TIM11;
  htim11.Init.Prescaler = 168-1;
  htim11.Init.CounterMode = TIM_COUNTERMODE_UP;
  htim11.Init.Period = 65535;
  htim11.Init.ClockDivision = TIM_CLOCKDIVISION_DIV1;
  htim11.Init.AutoReloadPreload = TIM_AUTORELOAD_PRELOAD_DISABLE;
  if (HAL_TIM_Base_Init(&htim11) != HAL_OK)
  {
    Error_Handler();
  }

}

static void MX_USART3_UART_Init(void)
{

  huart3.Instance = USART3;
  huart3.Init.BaudRate = 9600;
  huart3.Init.WordLength = UART_WORDLENGTH_8B;
  huart3.Init.StopBits = UART_STOPBITS_1;
  huart3.Init.Parity = UART_PARITY_NONE;
  huart3.Init.Mode = UART_MODE_TX_RX;
  huart3.Init.HwFlowCtl = UART_HWCONTROL_NONE;
  huart3.Init.OverSampling = UART_OVERSAMPLING_16;
  if (HAL_UART_Init(&huart3) != HAL_OK)
  {
    Error_Handler();
  }

}

static void MX_USART6_UART_Init(void)
{

  huart6.Instance = USART6;
  huart6.Init.BaudRate = 9600;
  huart6.Init.WordLength = UART_WORDLENGTH_8B;
  huart6.Init.StopBits = UART_STOPBITS_1;
  huart6.Init.Parity = UART_PARITY_NONE;
  huart6.Init.Mode = UART_MODE_TX_RX;
  huart6.Init.HwFlowCtl = UART_HWCONTROL_NONE;
  huart6.Init.OverSampling = UART_OVERSAMPLING_16;
  if (HAL_UART_Init(&huart6) != HAL_OK)
  {
    Error_Handler();
  }

}

static void MX_USB_OTG_FS_PCD_Init(void)
{

  hpcd_USB_OTG_FS.Instance = USB_OTG_FS;
  hpcd_USB_OTG_FS.Init.dev_endpoints = 4;
  hpcd_USB_OTG_FS.Init.speed = PCD_SPEED_FULL;
  hpcd_USB_OTG_FS.Init.dma_enable = DISABLE;
  hpcd_USB_OTG_FS.Init.phy_itface = PCD_PHY_EMBEDDED;
  hpcd_USB_OTG_FS.Init.Sof_enable = ENABLE;
  hpcd_USB_OTG_FS.Init.low_power_enable = DISABLE;
  hpcd_USB_OTG_FS.Init.lpm_enable = DISABLE;
  hpcd_USB_OTG_FS.Init.vbus_sensing_enable = ENABLE;
  hpcd_USB_OTG_FS.Init.use_dedicated_ep1 = DISABLE;
  if (HAL_PCD_Init(&hpcd_USB_OTG_FS) != HAL_OK)
  {
    Error_Handler();
  }

}

static void MX_GPIO_Init(void)
{
  GPIO_InitTypeDef GPIO_InitStruct = {0};

  /* GPIO Ports Clock Enable */
  __HAL_RCC_GPIOE_CLK_ENABLE();
  __HAL_RCC_GPIOC_CLK_ENABLE();
  __HAL_RCC_GPIOH_CLK_ENABLE();
  __HAL_RCC_GPIOA_CLK_ENABLE();
  __HAL_RCC_GPIOB_CLK_ENABLE();
  __HAL_RCC_GPIOF_CLK_ENABLE();
  __HAL_RCC_GPIOD_CLK_ENABLE();
  __HAL_RCC_GPIOG_CLK_ENABLE();

  /*Configure GPIO pin Output Level */
  HAL_GPIO_WritePin(GPIOE, COL1_Pin|COL2_Pin|COL3_Pin|COL4_Pin
                          |COL5_Pin|COL6_Pin|COL7_Pin|COL8_Pin, GPIO_PIN_RESET);

  /*Configure GPIO pin Output Level */
  HAL_GPIO_WritePin(DHT11_GPIO_Port, DHT11_Pin, GPIO_PIN_RESET);

  /*Configure GPIO pin Output Level */
  HAL_GPIO_WritePin(GPIOB, LD1_Pin|LD3_Pin|LD2_Pin, GPIO_PIN_RESET);

  /*Configure GPIO pin Output Level */
  HAL_GPIO_WritePin(ULTRASONIC_TRIGGER_GPIO_Port, ULTRASONIC_TRIGGER_Pin, GPIO_PIN_RESET);

  /*Configure GPIO pin Output Level */
  HAL_GPIO_WritePin(GPIOD, IN1_Pin|IN2_Pin|IN3_Pin|IN4_Pin
                          |ROW1_Pin|ROW2_Pin|ROW3_Pin|ROW4_Pin
                          |ROW5_Pin|ROW6_Pin|ROW7_Pin|ROW8_Pin, GPIO_PIN_RESET);

  /*Configure GPIO pin Output Level */
  HAL_GPIO_WritePin(USB_PowerSwitchOn_GPIO_Port, USB_PowerSwitchOn_Pin, GPIO_PIN_RESET);

  /*Configure GPIO pins : COL1_Pin COL2_Pin COL3_Pin COL4_Pin
                           COL5_Pin COL6_Pin COL7_Pin COL8_Pin */
  GPIO_InitStruct.Pin = COL1_Pin|COL2_Pin|COL3_Pin|COL4_Pin
                          |COL5_Pin|COL6_Pin|COL7_Pin|COL8_Pin;
  GPIO_InitStruct.Mode = GPIO_MODE_OUTPUT_PP;
  GPIO_InitStruct.Pull = GPIO_NOPULL;
  GPIO_InitStruct.Speed = GPIO_SPEED_FREQ_LOW;
  HAL_GPIO_Init(GPIOE, &GPIO_InitStruct);

  /*Configure GPIO pins : USER_Btn_Pin PHOTO0_Pin PHOTO1_Pin PHOTO2_Pin */
  GPIO_InitStruct.Pin = USER_Btn_Pin|PHOTO0_Pin|PHOTO1_Pin|PHOTO2_Pin;
  GPIO_InitStruct.Mode = GPIO_MODE_IT_RISING;
  GPIO_InitStruct.Pull = GPIO_NOPULL;
  HAL_GPIO_Init(GPIOC, &GPIO_InitStruct);

  /*Configure GPIO pin : DHT11_Pin */
  GPIO_InitStruct.Pin = DHT11_Pin;
  GPIO_InitStruct.Mode = GPIO_MODE_OUTPUT_PP;
  GPIO_InitStruct.Pull = GPIO_NOPULL;
  GPIO_InitStruct.Speed = GPIO_SPEED_FREQ_LOW;
  HAL_GPIO_Init(DHT11_GPIO_Port, &GPIO_InitStruct);

  /*Configure GPIO pins : LD1_Pin LD3_Pin LD2_Pin */
  GPIO_InitStruct.Pin = LD1_Pin|LD3_Pin|LD2_Pin;
  GPIO_InitStruct.Mode = GPIO_MODE_OUTPUT_PP;
  GPIO_InitStruct.Pull = GPIO_NOPULL;
  GPIO_InitStruct.Speed = GPIO_SPEED_FREQ_LOW;
  HAL_GPIO_Init(GPIOB, &GPIO_InitStruct);

  /*Configure GPIO pin : ULTRASONIC_TRIGGER_Pin */
  GPIO_InitStruct.Pin = ULTRASONIC_TRIGGER_Pin;
  GPIO_InitStruct.Mode = GPIO_MODE_OUTPUT_PP;
  GPIO_InitStruct.Pull = GPIO_NOPULL;
  GPIO_InitStruct.Speed = GPIO_SPEED_FREQ_LOW;
  HAL_GPIO_Init(ULTRASONIC_TRIGGER_GPIO_Port, &GPIO_InitStruct);

  /*Configure GPIO pins : BUTTON3_Pin BUTTON2_Pin BUTTON1_Pin BUTTON0_Pin */
  GPIO_InitStruct.Pin = BUTTON3_Pin|BUTTON2_Pin|BUTTON1_Pin|BUTTON0_Pin;
  GPIO_InitStruct.Mode = GPIO_MODE_INPUT;
  GPIO_InitStruct.Pull = GPIO_NOPULL;
  HAL_GPIO_Init(GPIOE, &GPIO_InitStruct);

  /*Configure GPIO pins : IN1_Pin IN2_Pin IN3_Pin IN4_Pin
                           ROW1_Pin ROW2_Pin ROW3_Pin ROW4_Pin
                           ROW5_Pin ROW6_Pin ROW7_Pin ROW8_Pin */
  GPIO_InitStruct.Pin = IN1_Pin|IN2_Pin|IN3_Pin|IN4_Pin
                          |ROW1_Pin|ROW2_Pin|ROW3_Pin|ROW4_Pin
                          |ROW5_Pin|ROW6_Pin|ROW7_Pin|ROW8_Pin;
  GPIO_InitStruct.Mode = GPIO_MODE_OUTPUT_PP;
  GPIO_InitStruct.Pull = GPIO_NOPULL;
  GPIO_InitStruct.Speed = GPIO_SPEED_FREQ_LOW;
  HAL_GPIO_Init(GPIOD, &GPIO_InitStruct);

  /*Configure GPIO pin : USB_PowerSwitchOn_Pin */
  GPIO_InitStruct.Pin = USB_PowerSwitchOn_Pin;
  GPIO_InitStruct.Mode = GPIO_MODE_OUTPUT_PP;
  GPIO_InitStruct.Pull = GPIO_NOPULL;
  GPIO_InitStruct.Speed = GPIO_SPEED_FREQ_LOW;
  HAL_GPIO_Init(USB_PowerSwitchOn_GPIO_Port, &GPIO_InitStruct);

  /*Configure GPIO pin : USB_OverCurrent_Pin */
  GPIO_InitStruct.Pin = USB_OverCurrent_Pin;
  GPIO_InitStruct.Mode = GPIO_MODE_INPUT;
  GPIO_InitStruct.Pull = GPIO_NOPULL;
  HAL_GPIO_Init(USB_OverCurrent_GPIO_Port, &GPIO_InitStruct);

  /* EXTI interrupt init*/
  HAL_NVIC_SetPriority(EXTI0_IRQn, 0, 0);
  HAL_NVIC_EnableIRQ(EXTI0_IRQn);

  HAL_NVIC_SetPriority(EXTI2_IRQn, 0, 0);
  HAL_NVIC_EnableIRQ(EXTI2_IRQn);

  HAL_NVIC_SetPriority(EXTI3_IRQn, 0, 0);
  HAL_NVIC_EnableIRQ(EXTI3_IRQn);

}

void Error_Handler(void)
{
  __disable_irq();
  while (1)
  {
  }
}
